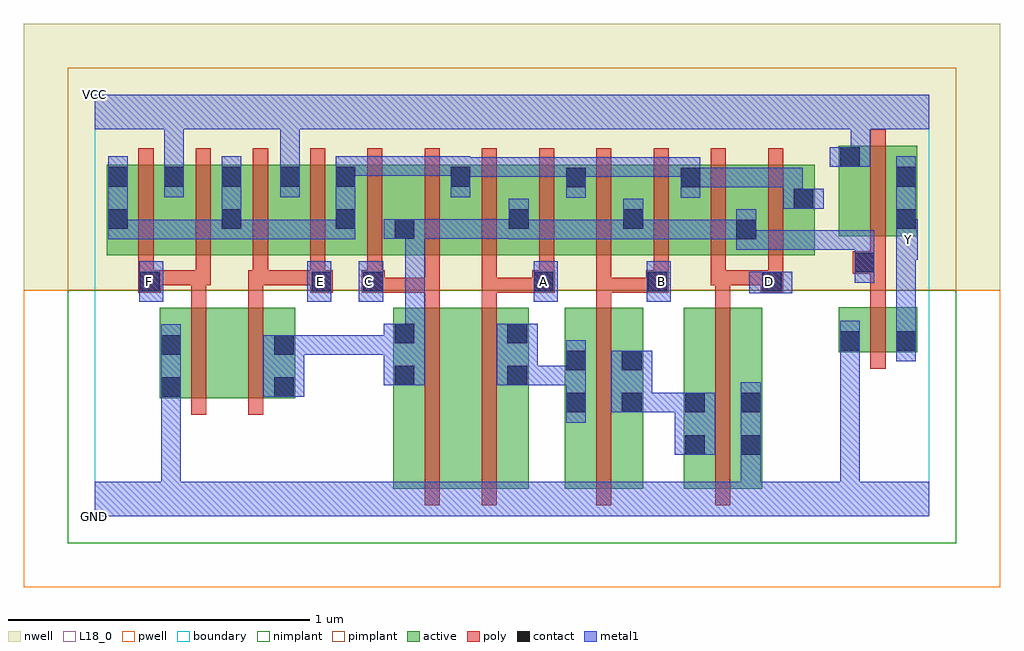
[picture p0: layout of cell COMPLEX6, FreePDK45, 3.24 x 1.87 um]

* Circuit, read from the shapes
.subckt COMPLEX6 A B C D E F GND VCC Y
M1 n1 F GND VSUBS nfet w=0.3u l=0.05u
M2 n2 E n1 VSUBS nfet w=0.3u l=0.05u
M3 n3 C n2 VSUBS nfet w=0.6u l=0.05u
M4 n4 A n3 VSUBS nfet w=0.6u l=0.05u
M5 n5 B n4 VSUBS nfet w=0.6u l=0.05u
M6 GND D n5 VSUBS nfet w=0.6u l=0.05u
M7 Y n2 GND VSUBS nfet w=0.15u l=0.05u
M8 VCC F n6 n7 pfet w=0.3u l=0.05u m=2
M9 VCC E n6 n7 pfet w=0.3u l=0.05u m=2
M10 n2 C n6 n7 pfet w=0.3u l=0.05u m=2
M11 n2 A n6 n7 pfet w=0.3u l=0.05u m=2
M12 n2 B n6 n7 pfet w=0.3u l=0.05u m=2
M13 n2 D n6 n7 pfet w=0.3u l=0.05u m=2
M14 Y n2 VCC n7 pfet w=0.3u l=0.05u
.ends

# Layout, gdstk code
import gdstk
lib = gdstk.Library(unit=1e-6, precision=1e-09)
def R(c, l, rs):  # rectangles x0, y0, x1, y1
    for r in rs: c.add(gdstk.rectangle(r[:2], r[2:], *l))
def A(c, l, x, y, w, h, nx, ny, dx, dy):  # array of equal rectangles
    R(c, l, [(x+i*dx, y+j*dy, x+i*dx+w, y+j*dy+h) for i in range(nx) for j in range(ny)])
active = (1, 0)
pwell = (2, 0)
nwell = (3, 0)
nimplant = (4, 0)
pimplant = (5, 0)
poly = (9, 0)
contact = (10, 0)
metal1 = (11, 0)
L18_0 = (18, 0)
boundary = (235, 0)

complex6 = lib.new_cell('COMPLEX6')
A(complex6, active, 1.37, 0.867, 0.265, 0.3, 3, 1, 0.19, 0)
R(complex6, active, [(0.99,0.092,1.215,0.692), (1.215,0.092,1.44,0.692), (1.56,0.092,1.82,0.692), (1.955,0.092,2.215,0.692), (0.99,0.095,1.095,0.692), (1.365,0.095,1.44,0.692), (1.56,0.095,1.635,0.692), (1.745,0.095,1.82,0.692), (1.955,0.095,2.03,0.692), (2.14,0.095,2.215,0.692), (0.215,0.392,0.29,0.692), (0.215,0.392,0.44,0.692), (0.44,0.392,0.665,0.692), (0.59,0.392,0.665,0.692), (2.47,0.545,2.545,0.695), (2.47,0.545,2.73,0.695), (2.655,0.545,2.73,0.695), (0.04,0.867,0.3,1.167), (0.04,0.867,0.115,1.165), (0.225,0.867,0.3,1.167), (0.225,0.867,0.492,1.167), (0.417,0.867,0.685,1.167), (0.417,0.867,0.492,1.165), (0.61,0.867,0.87,1.167), (0.795,0.867,1.065,1.167), (0.795,0.867,0.87,1.165), (0.99,0.867,1.252,1.167), (1.177,0.867,1.445,1.167), (1.94,0.867,2.2,1.167), (2.125,0.867,2.39,1.167), (2.315,0.867,2.39,1.167), (2.125,0.915,2.2,1.07), (0.99,0.917,1.065,1.07), (2.47,0.93,2.545,1.23), (2.47,0.93,2.73,1.23), (2.655,0.93,2.73,1.165), (1.37,0.95,1.445,1.07), (1.75,0.95,1.825,1.07), (0.61,0.995,0.685,1.165), (1.177,0.995,1.252,1.165), (1.56,0.995,1.635,1.167), (1.94,0.995,2.015,1.167)])
R(complex6, pwell, [(-0.235,-0.235,3.005,0.75)])
R(complex6, nwell, [(-0.235,0.75,3.005,1.635)])
R(complex6, nimplant, [(-0.09,-0.09,2.86,0.75)])
R(complex6, pimplant, [(-0.09,0.75,2.86,1.49)])
A(complex6, poly, 1.855, 0.767, 0.05, 0.095, 3, 1, 0.19, 0)
A(complex6, poly, 0.715, 0.812, 0.05, 0.41, 9, 1, 0.19, 0)
R(complex6, poly, [(1.095,0.037,1.145,0.747), (1.285,0.037,1.335,0.747), (1.665,0.037,1.715,0.747), (2.06,0.037,2.11,0.747), (0.32,0.337,0.37,0.747), (0.51,0.337,0.56,0.747), (2.575,0.49,2.625,0.75), (0.32,0.697,0.37,0.817), (0.51,0.697,0.56,0.817), (1.095,0.697,1.145,0.792), (1.285,0.697,1.335,0.792), (1.665,0.697,1.715,0.792), (2.06,0.697,2.11,0.817), (2.575,0.7,2.625,0.855), (0.145,0.742,0.22,0.817), (0.715,0.742,0.79,0.817), (0.887,0.742,0.962,0.817), (0.912,0.742,0.962,0.792), (0.912,0.742,0.962,0.792), (0.912,0.742,1.145,0.792), (1.095,0.742,1.145,0.792), (1.095,0.742,1.145,0.862), (1.285,0.742,1.335,0.792), (1.285,0.742,1.335,0.792), (1.285,0.742,1.335,0.792), (1.285,0.742,1.335,0.862), (1.285,0.742,1.502,0.792), (1.452,0.742,1.527,0.817), (1.665,0.742,1.715,0.792), (1.665,0.742,1.715,0.862), (1.665,0.742,1.88,0.792), (1.83,0.742,1.905,0.817), (1.83,0.742,1.88,0.792), (1.83,0.742,1.88,0.792), (2.21,0.742,2.285,0.817), (0.145,0.767,0.195,0.862), (0.17,0.767,0.37,0.817), (0.17,0.767,0.22,0.817), (0.17,0.767,0.22,0.817), (0.32,0.767,0.385,0.817), (0.335,0.767,0.385,0.862), (0.51,0.767,0.575,0.817), (0.525,0.767,0.575,0.817), (0.525,0.767,0.575,0.817), (0.525,0.767,0.575,0.817), (0.525,0.767,0.765,0.817), (0.525,0.767,0.575,1.222), (0.715,0.767,0.765,0.862), (0.905,0.767,0.955,0.862), (1.475,0.767,1.525,0.862), (2.045,0.767,2.11,0.817), (2.06,0.767,2.26,0.817), (2.06,0.767,2.11,0.817), (2.06,0.767,2.11,0.817), (2.517,0.805,2.625,0.88), (0.145,0.812,0.195,1.222), (0.335,0.812,0.385,1.222), (2.575,0.83,2.625,0.925), (2.575,0.875,2.625,1.285)])
R(complex6, contact, [(1.96,0.205,2.025,0.27), (2.145,0.205,2.21,0.27), (1.565,0.345,1.63,0.41), (1.75,0.345,1.815,0.41), (1.96,0.345,2.025,0.41), (2.145,0.345,2.21,0.41), (0.22,0.397,0.285,0.462), (0.595,0.397,0.66,0.462), (0.995,0.435,1.06,0.5), (1.37,0.435,1.435,0.5), (1.565,0.485,1.63,0.55), (1.75,0.485,1.815,0.55), (0.22,0.537,0.285,0.602), (0.595,0.537,0.66,0.602), (2.475,0.55,2.54,0.615), (2.66,0.55,2.725,0.615), (0.995,0.575,1.06,0.64), (1.37,0.575,1.435,0.64), (0.15,0.747,0.215,0.812), (0.72,0.747,0.785,0.812), (0.892,0.747,0.957,0.812), (1.457,0.747,1.522,0.812), (1.835,0.747,1.9,0.812), (2.215,0.747,2.28,0.812), (2.522,0.81,2.587,0.875), (2.13,0.92,2.195,0.985), (0.995,0.922,1.06,0.987), (0.045,0.955,0.11,1.02), (0.422,0.955,0.487,1.02), (0.8,0.955,0.865,1.02), (1.375,0.955,1.44,1.02), (1.755,0.955,1.82,1.02), (2.66,0.955,2.725,1.02), (2.32,1.022,2.385,1.087), (1.565,1.092,1.63,1.157), (1.945,1.092,2.01,1.157), (0.045,1.095,0.11,1.16), (0.23,1.095,0.295,1.16), (0.422,1.095,0.487,1.16), (0.615,1.095,0.68,1.16), (0.8,1.095,0.865,1.16), (1.182,1.095,1.247,1.16), (2.66,1.095,2.725,1.16), (2.475,1.16,2.54,1.225)])
R(complex6, metal1, [(0,0,2.77,0.115), (0.22,0.05,0.285,0.115), (0.22,0.05,0.285,0.115), (0.22,0.05,0.285,0.115), (0.22,0.05,0.285,0.115), (0.22,0.05,0.285,0.427), (2.145,0.05,2.21,0.235), (2.475,0.05,2.54,0.115), (2.475,0.05,2.54,0.115), (2.475,0.05,2.54,0.115), (2.475,0.05,2.54,0.115), (2.475,0.05,2.54,0.115), (2.475,0.05,2.54,0.115), (2.475,0.05,2.54,0.58), (2.145,0.17,2.21,0.445), (1.925,0.205,2.06,0.41), (1.565,0.31,1.63,0.585), (1.715,0.345,1.85,0.55), (1.785,0.345,1.962,0.41), (1.897,0.345,1.962,0.41), (1.897,0.345,1.99,0.41), (0.22,0.362,0.285,0.637), (0.56,0.397,0.695,0.602), (0.96,0.435,1.095,0.64), (1.335,0.435,1.47,0.64), (1.405,0.435,1.522,0.5), (1.457,0.435,1.522,0.5), (1.457,0.435,1.63,0.5), (2.475,0.515,2.54,0.65), (2.66,0.515,2.725,0.65), (0.63,0.537,0.695,0.602), (0.63,0.537,0.695,0.602), (0.63,0.537,0.832,0.602), (0.767,0.537,0.832,0.602), (0.767,0.537,1.025,0.602), (0.96,0.537,1.025,0.602), (0.96,0.537,1.025,0.602), (1.03,0.575,1.095,0.987), (2.66,0.585,2.725,0.917), (0.147,0.712,0.227,0.847), (0.705,0.712,0.785,0.847), (0.877,0.712,0.957,0.847), (1.457,0.712,1.537,0.847), (1.832,0.712,1.912,0.847), (2.172,0.74,2.315,0.812), (2.522,0.775,2.587,0.91), (2.522,0.845,2.587,0.91), (2.522,0.845,2.587,0.91), (2.522,0.845,2.587,0.95), (2.66,0.852,2.732,0.987), (2.13,0.885,2.195,1.02), (2.13,0.885,2.245,0.95), (2.18,0.885,2.245,0.95), (2.18,0.885,2.45,0.95), (2.385,0.885,2.45,0.95), (2.385,0.885,2.587,0.95), (2.522,0.885,2.587,0.95), (0.045,0.92,0.11,0.985), (0.045,0.92,0.11,0.985), (0.045,0.92,0.11,1.195), (0.045,0.92,0.35,0.985), (0.285,0.92,0.35,0.985), (0.285,0.92,0.35,0.985), (0.285,0.92,0.35,0.985), (0.285,0.92,0.487,0.985), (0.422,0.92,0.487,0.985), (0.422,0.92,0.487,0.985), (0.422,0.92,0.487,1.195), (0.422,0.92,0.695,0.985), (0.63,0.92,0.695,0.985), (0.63,0.92,0.695,0.985), (0.63,0.92,0.695,0.985), (0.63,0.92,0.865,0.985), (0.8,0.92,0.865,1.195), (1.375,0.92,1.44,1.055), (1.375,0.92,1.522,0.985), (1.457,0.92,1.522,0.985), (1.457,0.92,1.642,0.985), (1.577,0.92,1.642,0.985), (1.577,0.92,1.66,0.985), (1.595,0.92,1.66,0.985), (1.595,0.92,1.82,0.985), (1.755,0.92,1.82,0.985), (1.755,0.92,1.82,0.985), (1.755,0.92,1.82,1.055), (1.755,0.92,2.057,0.985), (1.992,0.92,2.057,0.985), (1.992,0.92,2.1,0.985), (2.035,0.92,2.1,0.985), (2.035,0.92,2.195,0.985), (2.66,0.92,2.725,0.985), (2.66,0.92,2.725,1.195), (0.96,0.922,1.095,0.987), (1.03,0.922,1.095,0.987), (1.03,0.922,1.095,0.987), (1.03,0.922,1.162,0.987), (1.097,0.922,1.162,0.987), (1.097,0.922,1.232,0.987), (1.167,0.922,1.232,0.987), (1.167,0.922,1.385,0.987), (1.32,0.922,1.385,0.987), (1.32,0.922,1.44,0.987), (2.285,1.022,2.35,1.087), (2.285,1.022,2.35,1.157), (2.285,1.022,2.42,1.087), (1.565,1.057,1.63,1.192), (1.945,1.057,2.01,1.192), (0.23,1.06,0.295,1.195), (0.615,1.06,0.68,1.195), (1.182,1.06,1.247,1.195), (1.945,1.092,2.1,1.157), (2.035,1.092,2.1,1.157), (2.035,1.092,2.212,1.157), (2.147,1.092,2.212,1.157), (2.147,1.092,2.35,1.157), (1.182,1.127,1.385,1.192), (1.32,1.127,1.385,1.192), (1.32,1.127,1.385,1.192), (1.32,1.127,1.385,1.192), (1.32,1.127,1.522,1.192), (1.457,1.127,1.522,1.192), (1.457,1.127,1.63,1.192), (1.565,1.127,1.66,1.192), (1.595,1.127,1.66,1.192), (1.595,1.127,1.852,1.192), (1.787,1.127,1.852,1.192), (1.787,1.127,1.852,1.192), (1.787,1.127,1.852,1.192), (1.787,1.127,2.01,1.192), (0.23,1.13,0.295,1.35), (0.615,1.13,0.68,1.35), (0.8,1.13,0.865,1.195), (0.8,1.13,0.865,1.195), (0.8,1.13,1.025,1.195), (0.96,1.13,1.025,1.195), (0.96,1.13,1.025,1.195), (0.96,1.13,1.025,1.195), (0.96,1.13,1.247,1.195), (1.182,1.13,1.247,1.195), (1.182,1.13,1.247,1.195), (2.44,1.16,2.575,1.225), (2.51,1.16,2.575,1.225), (2.51,1.16,2.575,1.225), (2.51,1.16,2.575,1.35), (0,1.285,2.77,1.4), (0.23,1.285,0.295,1.35), (0.23,1.285,0.295,1.35), (0.615,1.285,0.68,1.35), (0.615,1.285,0.68,1.35)])
R(complex6, L18_0, [(0,0,2.77,0.115), (0.22,0.05,0.285,0.115), (0.22,0.05,0.285,0.115), (0.22,0.05,0.285,0.115), (0.22,0.05,0.285,0.115), (0.22,0.05,0.285,0.427), (2.145,0.05,2.21,0.235), (2.475,0.05,2.54,0.115), (2.475,0.05,2.54,0.115), (2.475,0.05,2.54,0.115), (2.475,0.05,2.54,0.115), (2.475,0.05,2.54,0.115), (2.475,0.05,2.54,0.115), (2.475,0.05,2.54,0.58), (2.145,0.17,2.21,0.445), (0.22,0.362,0.285,0.637), (2.475,0.515,2.54,0.65), (2.66,0.515,2.725,0.65), (2.66,0.585,2.725,0.917), (0.147,0.712,0.227,0.847), (0.705,0.712,0.785,0.847), (0.877,0.712,0.957,0.847), (1.457,0.712,1.537,0.847), (1.832,0.712,1.912,0.847), (2.172,0.74,2.315,0.812), (0.147,0.747,0.212,0.812), (0.717,0.747,0.782,0.812), (0.877,0.747,0.942,0.812), (1.457,0.747,1.522,0.812), (1.847,0.747,1.912,0.812), (2.207,0.747,2.272,0.812), (2.66,0.852,2.732,0.987), (2.667,0.887,2.732,0.952), (2.66,0.92,2.725,0.985), (2.66,0.92,2.725,1.195), (0.23,1.06,0.295,1.195), (0.615,1.06,0.68,1.195), (0.23,1.13,0.295,1.35), (0.615,1.13,0.68,1.35), (2.44,1.16,2.575,1.225), (2.51,1.16,2.575,1.225), (2.51,1.16,2.575,1.225), (2.51,1.16,2.575,1.35), (0,1.285,2.77,1.4), (0.23,1.285,0.295,1.35), (0.23,1.285,0.295,1.35), (0.615,1.285,0.68,1.35), (0.615,1.285,0.68,1.35)])
R(complex6, boundary, [(0,0,2.77,1.4)])
complex6.add(gdstk.Label('A', (1.49,0.78), layer=11, texttype=0))
complex6.add(gdstk.Label('B', (1.88,0.78), layer=11, texttype=0))
complex6.add(gdstk.Label('C', (0.91,0.78), layer=11, texttype=0))
complex6.add(gdstk.Label('D', (2.24,0.78), layer=11, texttype=0))
complex6.add(gdstk.Label('E', (0.75,0.78), layer=11, texttype=0))
complex6.add(gdstk.Label('F', (0.18,0.78), layer=11, texttype=0))
complex6.add(gdstk.Label('Y', (2.7,0.92), layer=11, texttype=0))
complex6.add(gdstk.Label('VCC', (0,1.4), layer=11, texttype=0))
complex6.add(gdstk.Label('GND', (0,0), layer=11, texttype=0))

lib.write_gds('COMPLEX6.gds')
